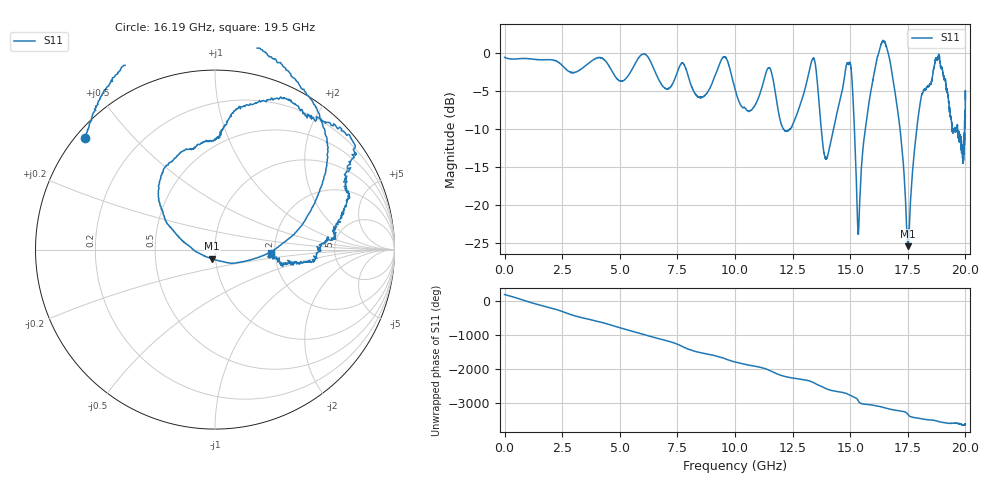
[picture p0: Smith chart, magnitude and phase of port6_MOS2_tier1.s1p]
! Created with skrf 1.8.0 (http://scikit-rf.org).
# GHz S RI R 50.0
!freq ReS11 ImS11
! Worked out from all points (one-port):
!   10001 points, 1 MHz to 20 GHz, reference 50 ohm
!   lowest |S11| = -25.4 dB at 17.51 GHz (marker M1), VSWR 1.11, Z = 48.2 - j4.96 ohm
!   |S11| at or under -10 dB: 13.75 GHz to 14.27 GHz (527.1 MHz wide, 3.76 % of centre); 15.18 GHz to 15.65 GHz (469.1 MHz wide, 3.04 % of centre); 17.16 GHz to 17.88 GHz (720.2 MHz wide, 4.11 % of centre) (the widest 3 of 22)
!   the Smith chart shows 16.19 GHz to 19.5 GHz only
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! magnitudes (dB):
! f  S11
! 1 MHz  -0.5
! 2.501 GHz  -1.6
! 4.179 GHz  -0.6
! 5.001 GHz  -3.6
! 6.023 GHz  -0.1
! 6.975 GHz  -4.6
! 7.501 GHz  -2.5
! 8.569 GHz  -5.8
! 9.549 GHz  -0.5
! 10 GHz  -4.7
! 10.67 GHz  -7.6
! 11.49 GHz  -1.9
! 12.06 GHz  -9.7
! 12.5 GHz  -9.4
! 13.4 GHz  -0.6
! 13.98 GHz  -13.8
! 15 GHz  -1.3
! 15.36 GHz  -23.4
! 15.59 GHz  -11.6
! 15.9 GHz  -5.0
! 16.56 GHz  0.9
! 17.13 GHz  -9.1
! 17.5 GHz  -25.3
! 17.51 GHz  -25.4
! 18.03 GHz  -6.6
! 18.77 GHz  -0.9
! 19.83 GHz  -12.4
! 20 GHz  -6.1
